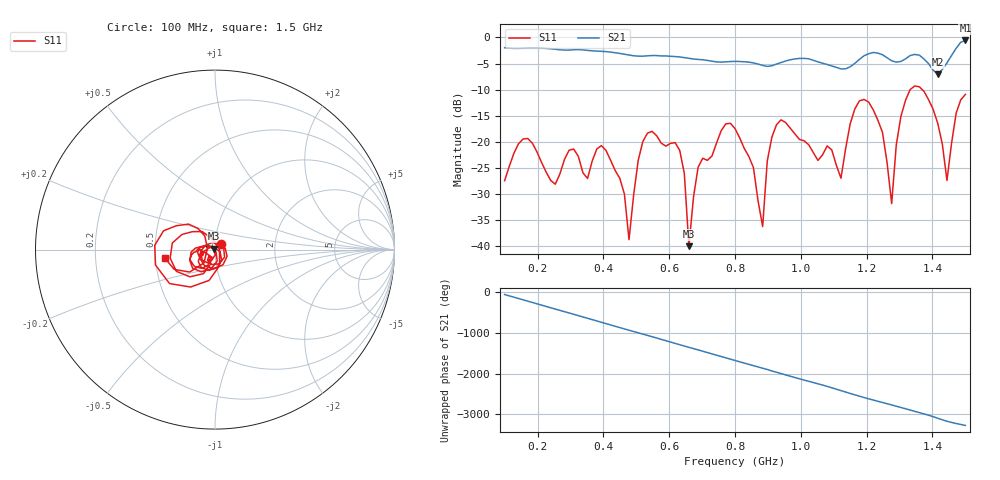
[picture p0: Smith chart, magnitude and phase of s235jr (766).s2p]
! NanoVNA-App
! Date: 2025-09-25 15:10:08
! Start: 100MHz Stop: 1,5GHz Points: 101
! S-Parameter data: F S11 S21 S12 S22
# Hz S RI R 50
!  Frequency  S11_Real  S11_Imag  S21_Real  S21_Imag  S12_Real  S12_Imag  S22_Real  S22_Imag
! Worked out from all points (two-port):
!   101 points, 100 MHz to 1.5 GHz, reference 50 ohm
!   highest |S21| = -0.57 dB at 1.5 GHz (marker M1); lowest = -7.0 dB at 1.416 GHz (marker M2)
!   |S21| within 3 dB of the highest: start of sweep to 504.6 MHz; 523.2 MHz to 595.7 MHz (72.5 MHz wide, 13 % of centre) (the widest 2 of 5)
!   lowest |S11| = -40.0 dB at 660 MHz (marker M3), VSWR 1.02, Z = 49.2 + j0.55 ohm
!   |S11| at or under -10 dB: start of sweep to 1.332 GHz; 1.369 GHz to end of sweep
!   S12 and S22 are empty: the file has one direction only
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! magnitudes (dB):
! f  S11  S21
! 100 MHz  -27.5  -2.0
! 170 MHz  -19.4  -2.0
! 338 MHz  -26.0  -2.4
! 408 MHz  -21.7  -2.7
! 478 MHz  -38.8  -3.4
! 520 MHz  -20.0  -3.6
! 576 MHz  -20.3  -3.5
! 632 MHz  -21.6  -3.7
! 660 MHz  -40.0  -4.0
! 688 MHz  -24.9  -4.2
! 800 MHz  -17.5  -4.6
! 884 MHz  -36.3  -5.4
! 898 MHz  -23.7  -5.5
! 926 MHz  -16.7  -5.1
! 1.038 GHz  -22.1  -4.4
! 1.122 GHz  -27.0  -6.0
! 1.206 GHz  -12.4  -3.1
! 1.276 GHz  -31.9  -4.5
! 1.332 GHz  -10.0  -3.5
! 1.416 GHz  -16.5  -7.0
! 1.444 GHz  -27.4  -4.9
! 1.5 GHz  -10.9  -0.6
